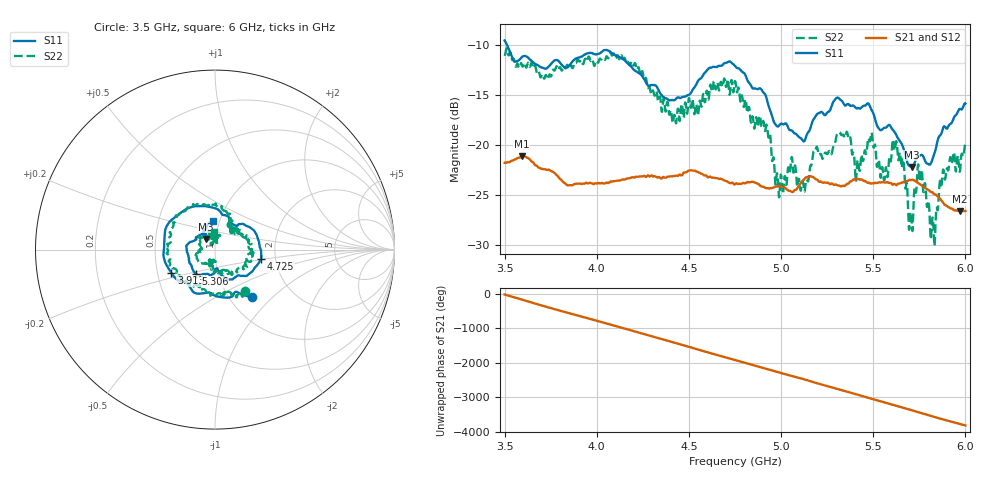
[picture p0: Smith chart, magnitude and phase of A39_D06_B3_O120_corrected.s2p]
! Created with skrf 1.9.0 (http://scikit-rf.org).
# Hz S RI R 50.0
!freq ReS11 ImS11 ReS21 ImS21 ReS12 ImS12 ReS22 ImS22
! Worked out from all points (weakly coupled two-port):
!   1601 points, 3.5 GHz to 6 GHz, reference 50 ohm
!   highest |S21| = -21.10 dB at 3.594 GHz (marker M1); lowest = -26.6 dB at 5.97 GHz (marker M2)
!   lowest |S11| = -22.2 dB at 5.709 GHz (marker M3), VSWR 1.17, Z = 44.9 + j5.33 ohm
!   |S11| at or under -10 dB: 3.513 GHz to end of sweep
!   |S22| runs from -30.1 to -10.3 dB; largest |S21 - S12| = 0.00098
!   S11 on the Smith chart (normalised r, x): 3.5 GHz: 1.27, -0.75; 3.913 GHz: 0.59, -0.17; 4.725 GHz: 1.67, -0.19; 5.306 GHz: 0.78, -0.22; 6 GHz: 0.93, +0.31
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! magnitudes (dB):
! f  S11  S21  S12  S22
! 3.5 GHz  -9.5  -21.8  -21.7  -10.9
! 3.594 GHz  -11.2  -21.1  -21.1  -12.0
! 3.913 GHz  -11.2  -23.8  -23.8  -11.5
! 3.917 GHz  -11.2  -23.9  -23.8  -11.5
! 4.141 GHz  -11.4  -23.4  -23.4  -11.3
! 4.334 GHz  -14.5  -23.2  -23.1  -15.6
! 4.42 GHz  -15.5  -23.1  -23.1  -17.0
! 4.725 GHz  -11.7  -23.8  -23.7  -14.3
! 4.75 GHz  -12.1  -23.9  -23.8  -13.6
! 4.93 GHz  -15.9  -24.3  -24.2  -19.1
! 4.981 GHz  -18.1  -24.1  -24.1  -23.2
! 5.167 GHz  -17.8  -23.2  -23.1  -21.8
! 5.306 GHz  -15.2  -24.0  -23.9  -18.8
! 5.414 GHz  -16.3  -23.4  -23.4  -21.6
! 5.584 GHz  -18.0  -23.8  -23.7  -21.8
! 5.619 GHz  -18.8  -23.9  -23.9  -20.3
! 5.709 GHz  -22.2  -23.5  -23.4  -28.1
! 5.753 GHz  -21.0  -23.9  -23.8  -23.6
! 5.823 GHz  -21.3  -24.7  -24.7  -27.3
! 5.872 GHz  -18.7  -25.6  -25.5  -23.8
! 5.97 GHz  -16.4  -26.6  -26.5  -22.6
! 6 GHz  -15.8  -26.6  -26.5  -19.9
